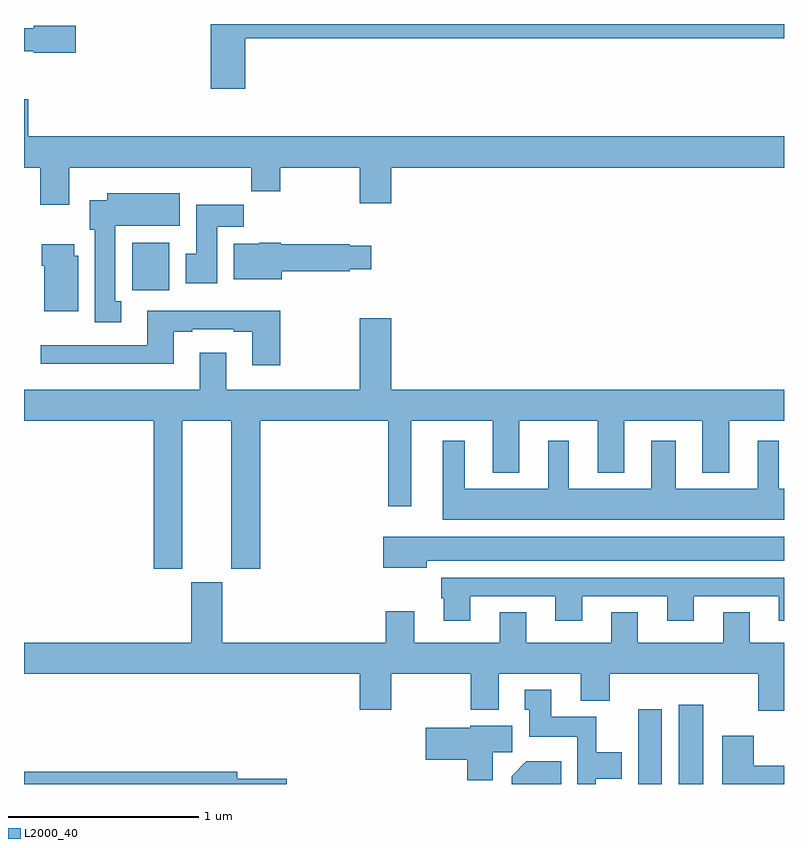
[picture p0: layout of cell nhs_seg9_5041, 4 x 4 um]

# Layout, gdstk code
import gdstk
lib = gdstk.Library(unit=1e-6, precision=1e-09)
def R(c, l, rs):  # rectangles x0, y0, x1, y1
    for r in rs: c.add(gdstk.rectangle(r[:2], r[2:], *l))
def P(c, l, *ps):  # polygons
    for p in ps: c.add(gdstk.Polygon(p, *l))
L2000_40 = (2000, 40)

nhs_seg9_5041 = lib.new_cell('nhs_seg9_5041')
R(nhs_seg9_5041, L2000_40, [(406.232,1202.5,406.357,1202.893), (406.445,1202.5,406.576,1202.917), (403.569,1205.1,403.765,1205.35)])
P(nhs_seg9_5041, L2000_40, [(404.165,1206.424),(407,1206.424),(407,1206.5),(403.982,1206.5),(403.982,1206.159),(404.165,1206.159)],
  [(403.273,1206.491),(403.05,1206.491),(403.05,1206.478),(403,1206.478),(403,1206.356),(403.05,1206.356),(403.05,1206.349),(403.273,1206.349)],
  [(403.022,1206.103),(403,1206.103),(403,1205.744),(403.085,1205.744),(403.085,1205.55),(403.237,1205.55),(403.237,1205.744),(404.197,1205.744),(404.197,1205.62),(404.349,1205.62),(404.349,1205.744),(404.768,1205.744),(404.768,1205.556),(404.932,1205.556),(404.932,1205.744),(407,1205.744),(407,1205.908),(403.022,1205.908)],
  [(403.513,1205.041),(403.48,1205.041),(403.48,1205.438),(403.819,1205.438),(403.819,1205.608),(403.439,1205.608),(403.439,1205.572),(403.346,1205.572),(403.346,1205.418),(403.373,1205.418),(403.373,1204.929),(403.513,1204.929)],
  [(404.017,1205.432),(404.156,1205.432),(404.156,1205.55),(403.907,1205.55),(403.907,1205.292),(403.85,1205.292),(403.85,1205.136),(404.017,1205.136)],
  [(404.356,1205.198),(404.714,1205.198),(404.714,1205.21),(404.827,1205.21),(404.827,1205.332),(404.714,1205.332),(404.714,1205.34),(404.352,1205.34),(404.352,1205.35),(404.238,1205.35),(404.238,1205.344),(404.105,1205.344),(404.105,1205.156),(404.356,1205.156)],
  [(403.285,1205.28),(403.264,1205.28),(403.264,1205.341),(403.094,1205.341),(403.094,1205.228),(403.106,1205.228),(403.106,1204.988),(403.285,1204.988)],
  [(404.349,1204.99),(403.649,1204.99),(403.649,1204.809),(403.089,1204.809),(403.089,1204.712),(403.789,1204.712),(403.789,1204.881),(403.885,1204.881),(403.885,1204.893),(404.105,1204.893),(404.105,1204.881),(404.201,1204.881),(404.201,1204.704),(404.349,1204.704)],
  [(404.932,1204.951),(404.768,1204.951),(404.768,1204.576),(404.065,1204.576),(404.065,1204.771),(403.925,1204.771),(403.925,1204.576),(403,1204.576),(403,1204.412),(403.682,1204.412),(403.682,1203.633),(403.834,1203.633),(403.834,1204.412),(404.09,1204.412),(404.09,1203.633),(404.243,1203.633),(404.243,1204.412),(404.916,1204.412),(404.916,1203.963),(405.037,1203.963),(405.037,1204.412),(405.467,1204.412),(405.467,1204.139),(405.607,1204.139),(405.607,1204.412),(406.019,1204.412),(406.019,1204.139),(406.159,1204.139),(406.159,1204.412),(406.571,1204.412),(406.571,1204.139),(406.711,1204.139),(406.711,1204.412),(407,1204.412),(407,1204.576),(404.932,1204.576)],
  [(407,1204.054),(406.972,1204.054),(406.972,1204.306),(406.862,1204.306),(406.862,1204.054),(406.429,1204.054),(406.429,1204.306),(406.301,1204.306),(406.301,1204.054),(405.868,1204.054),(405.868,1204.306),(405.758,1204.306),(405.758,1204.054),(405.319,1204.054),(405.319,1204.306),(405.203,1204.306),(405.203,1203.89),(407,1203.89)],
  [(405.121,1203.674),(407,1203.674),(407,1203.802),(404.892,1203.802),(404.892,1203.638),(405.121,1203.638)],
  [(405.349,1203.489),(405.797,1203.489),(405.797,1203.36),(405.937,1203.36),(405.937,1203.489),(406.385,1203.489),(406.385,1203.36),(406.525,1203.36),(406.525,1203.489),(406.973,1203.489),(406.973,1203.36),(407,1203.36),(407,1203.585),(405.197,1203.585),(405.197,1203.477),(405.209,1203.477),(405.209,1203.36),(405.349,1203.36)],
  [(407,1203.244),(406.819,1203.244),(406.819,1203.404),(406.679,1203.404),(406.679,1203.244),(406.231,1203.244),(406.231,1203.404),(406.091,1203.404),(406.091,1203.244),(405.643,1203.244),(405.643,1203.404),(405.503,1203.404),(405.503,1203.244),(405.055,1203.244),(405.055,1203.409),(404.903,1203.409),(404.903,1203.244),(404.044,1203.244),(404.044,1203.561),(403.88,1203.561),(403.88,1203.244),(403,1203.244),(403,1203.08),(404.768,1203.08),(404.768,1202.892),(404.932,1202.892),(404.932,1203.08),(405.352,1203.08),(405.352,1202.891),(405.499,1202.891),(405.499,1203.08),(405.929,1203.08),(405.929,1202.939),(406.082,1202.939),(406.082,1203.08),(406.865,1203.08),(406.865,1202.886),(407,1202.886)],
  [(406.008,1202.528),(406.147,1202.528),(406.147,1202.668),(406.011,1202.668),(406.011,1202.854),(405.775,1202.854),(405.775,1202.995),(405.635,1202.995),(405.635,1202.892),(405.659,1202.892),(405.659,1202.75),(405.912,1202.75),(405.912,1202.5),(406.008,1202.5)],
  [(405.466,1202.668),(405.571,1202.668),(405.571,1202.806),(405.348,1202.806),(405.348,1202.797),(405.114,1202.797),(405.114,1202.627),(405.332,1202.627),(405.332,1202.52),(405.466,1202.52)],
  [(407,1202.596),(406.84,1202.596),(406.84,1202.755),(406.676,1202.755),(406.676,1202.5),(407,1202.5)],
  [(405.827,1202.62),(405.644,1202.62),(405.566,1202.542),(405.566,1202.5),(405.827,1202.5)],
  [(404.383,1202.528),(404.122,1202.528),(404.122,1202.564),(403,1202.564),(403,1202.5),(404.383,1202.5)])

lib.write_gds('nhs_seg9_5041.gds')
